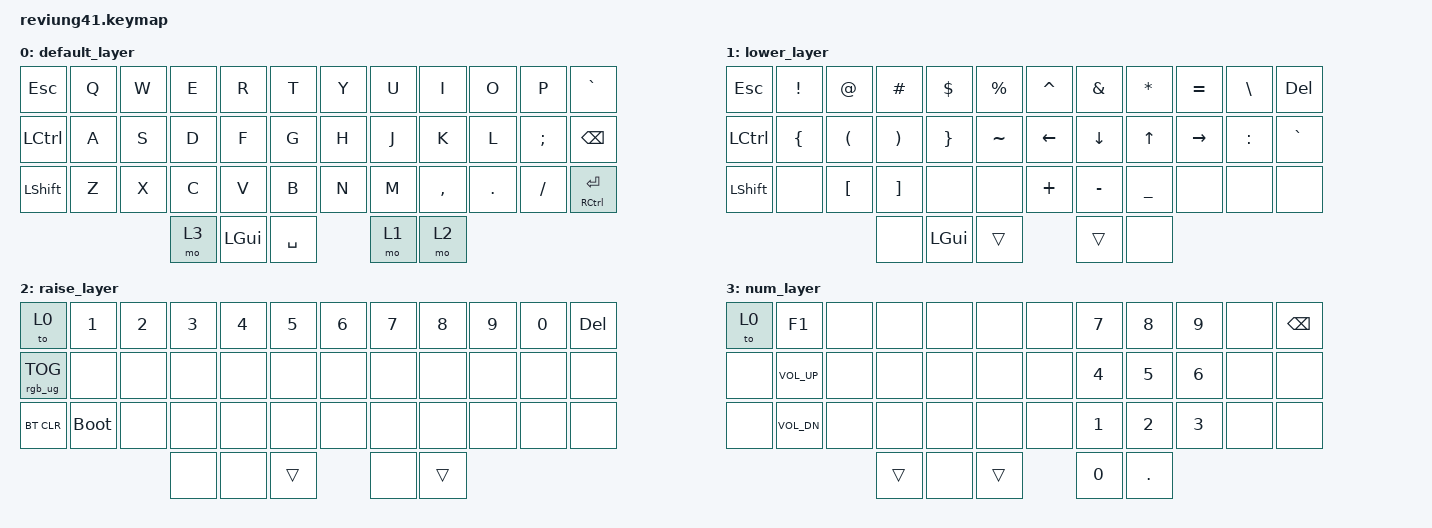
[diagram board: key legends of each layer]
/*
 * Copyright (c) 2020 The ZMK Contributors
 *
 * SPDX-License-Identifier: MIT
 */

#include <behaviors.dtsi>
#include <dt-bindings/zmk/keys.h>
#include <dt-bindings/zmk/rgb.h>
#include <dt-bindings/zmk/bt.h>

/ {
    combos {
        compatible = "zmk,combos";

        combo_alt {
            timeout-ms = <50>;
            key-positions = <36 37>;
            bindings = <&kp LALT>;
        };

        combo_caps {
            timeout-ms = <50>;
            key-positions = <37 39>;
            bindings = <&kp CAPS>;
        };
    };
};

/ {
    keymap {
        compatible = "zmk,keymap";

        default_layer {
            //
            // ------------------------------------------------------------------------------------
            // |  TAB |  Q  |  W  |  E  |  R  |  T  |||||  Y  |  U  |  I  |  O  |  P  |   `~   |
            // | CTRL |  A  |  S  |  D  |  F  |  G  |||||  H  |  J  |  K  |  L  |  ;  |    BACKSPACE |
            // | SHFT |  Z  |  X  |  C  |  V  |  B  |||||  N  |  M  |  ,  |  .  |  /  | SHFT(RET) |
            //                         | NUM | GUI | SPC | LWR | RSE |
            //

            bindings = <
   &kp ESC   &kp Q   &kp W   &kp E     &kp R   &kp T              &kp Y   &kp U      &kp I    &kp O     &kp P        &kp GRAVE
 &kp LCTRL   &kp A   &kp S   &kp D     &kp F   &kp G              &kp H   &kp J      &kp K    &kp L  &kp SEMI    &kp BACKSPACE
 &kp LSHFT   &kp Z   &kp X   &kp C     &kp V   &kp B              &kp N   &kp M  &kp COMMA  &kp DOT  &kp FSLH  &mt RCTRL ENTER
                             &mo 3  &kp LGUI          &kp SPACE           &mo 1      &mo 2
            >;
        };

        lower_layer {
            //
            // -------------------------------------------------------------------------------
            // | ESC  |  !  |  @  |  #  |  $  |  %  ||||||  ^  |  &  |  *  |  =  |  \  | DEL |
            // | CTRL |  {  |  (  |  )  |  }  |  ~  ||||||  ←  |  ↓  |  ↑  |  →  |  :  |  `  |
            // | SHFT |     |  [  |  ]  |     |     ||||||  +  |  -  |  _  |     |     |     |
            //                        |     | GUI | trans | trans |     |
            //

            bindings = <
   &kp ESC  &kp EXCL    &kp AT  &kp HASH  &kp DLLR  &kp PRCNT          &kp CARET   &kp AMPS  &kp ASTRK  &kp EQUAL   &kp BSLH    &kp DEL
 &kp LCTRL  &kp LBRC  &kp LPAR  &kp RPAR  &kp RBRC  &kp TILDE           &kp LEFT   &kp DOWN     &kp UP  &kp RIGHT  &kp COLON  &kp GRAVE
 &kp LSHFT     &none  &kp LBKT  &kp RBKT     &none      &none           &kp PLUS  &kp MINUS  &kp UNDER      &none      &none      &none
                                   &none  &kp LGUI             &trans                &trans      &none
            >;
        };

        raise_layer {
            //
            // -------------------------------------------------------------------------------
            // | LY0 |  1  |  2  |  3  |  4  |  5  |||||  6  |  7  |  8  |  9  |  0  |  DEL  |
            // |     |     |     |     |     |     |||||     |     |     |     |     |       |
            // |BTCLR| BOOT|     |     |     |     |||||     |     |     |     |     |       |
            //                        |     |     |     |     |     |
            //

            bindings = <
           &to 0       &kp N1  &kp N2  &kp N3  &kp N4  &kp N5          &kp N6  &kp N7  &kp N8  &kp N9  &kp N0  &kp DEL
 &rgb_ug RGB_TOG        &none   &none   &none   &none   &none           &none   &none   &none   &none   &none    &none
      &bt BT_CLR  &bootloader   &none   &none   &none   &none           &none   &none   &none   &none   &none    &none
                                        &none   &none          &trans           &none  &trans
            >;
        };

        num_layer {
            //
            // ---------------------------------------------------------------------------------
            // | LY0 |  F1  |     |     |     |     |||||||     |  7  |  8  |  9  |     | BKSP |
            // |     | VOL+ |     |     |     |     |||||||     |  4  |  5  |  6  |     |      |
            // |     | VOL- |     |     |     |     |||||||     |  1  |  2  |  3  |     |      |
            //                         |     |     |       |  0  |  .  |
            //

            bindings = <
  &to 0        &kp F1   &none   &none   &none   &none           &none  &kp N7   &kp N8  &kp N9   &none  &kp BSPC
  &none  &kp C_VOL_UP   &none   &none   &none   &none           &none  &kp N4   &kp N5  &kp N6   &none     &none
  &none  &kp C_VOL_DN   &none   &none   &none   &none           &none  &kp N1   &kp N2  &kp N3   &none     &none
                               &trans   &none          &trans          &kp N0  &kp DOT
            >;
        };
    };
};
